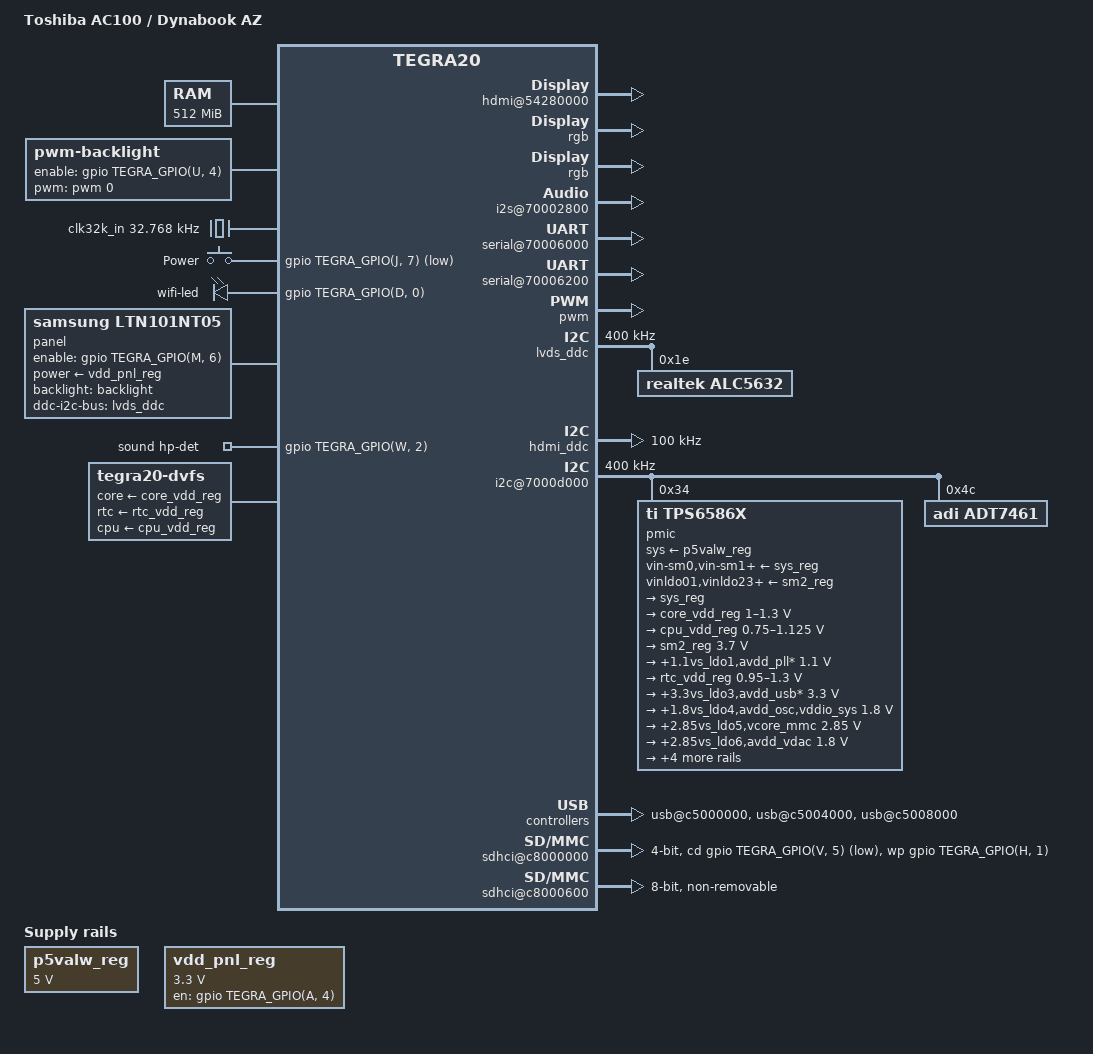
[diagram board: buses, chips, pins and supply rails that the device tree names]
/dts-v1/;

/*
 * Carveouts for multimedia and ram console
 * 128MB - multimedia
 * 8MB - fb1
 * 16MB - fb2
 * 1MB - ram-console
 */

/memreserve/ 0x11000000 0x9900000;

#include <dt-bindings/input/input.h>
#include "tegra20.dtsi"

/ {
	model = "Toshiba AC100 / Dynabook AZ";
	compatible = "compal,paz00", "nvidia,tegra20";

	aliases {
		rtc0 = "/i2c@7000d000/tps6586x@34";
		rtc1 = "/rtc@7000e000";
		serial0 = &uarta;
		serial1 = &uartc;
	};

	memory {
		reg = <0x00000000 0x20000000>;
	};

	ram-console {
		compatible = "android,ram-console";
		reg = <0x1A800000 0x00100000>;
	};

	nvmap {
		compatible = "nvidia,tegra-nvmap";
		#address-cells = <1>;
		#size-cells = <1>;
		ranges;

		carveouts {
			#address-cells = <1>;
			#size-cells = <1>;
			ranges;

			iram {
				reg = <0x40000400 0x3FC00>;
				reg-names = "iram";
				buddy-size = <0>;
				usage-mask = <0x20000000>;
			};

			generic {
				reg = <0x11000000 0x8000000>;
				reg-names = "generic-0";
				buddy-size = <0x8000>;
				usage-mask = <0x1>;
			};
		};

	};

	host1x@50000000 {
		compatible = "nvidia,tegra20-host1x", "nvhost-bus";
		ranges;

		hdmi@54280000 {
			status = "okay";

			vdd-supply = <&hdmi_vdd_reg>;
			pll-supply = <&hdmi_pll_reg>;

			nvidia,ddc-i2c-bus = <&hdmi_ddc>;
			nvidia,hpd-gpio = <&gpio TEGRA_GPIO(N, 7)
				GPIO_ACTIVE_HIGH>;
		};

		mpe@54040000 {
			clock-names = "mpe";
		};

		gr3d@54180000 {
			clock-names = "gr3d";
		};

		gr2d@54140000 {
			clocks = <&tegra_car TEGRA20_CLK_GR2D>,
				 <&tegra_car TEGRA20_CLK_EPP>;
			clock-names = "gr2d", "epp";
		};

		epp@540c0000 {
			clock-names = "epp";
		};

		dc@54200000 {
			reg = <0x54200000 0x00040000>,
			      <0x19000000 0x800000>;
			reg-names = "regs", "fbmem";
			interrupt-names = "irq";

			pnl-vdd-supply = <&vdd_pnl_reg>;

			rgb {
				status = "okay";

				display {
					fb-win = <0>;
					fb-xres = <1024>;
					fb-yres = <600>;
					fb-bpp = <32>;

					dc-index = <0>;

					flags = <1>; /* TEGRA_DC_FLAG_ENABLED */

					type = <0>; /* TEGRA_DC_OUT_RGB */
					order = <0>; /* TEGRA_DC_ORDER_RED_BLUE */
					align = <0>; /* TEGRA_DC_ALIGN_MSB */
					depth = <18>;
					dither = <3>; /* TEGRA_DC_ERRDIFF_DITHER */

					default-emc-rate = <600000000>;
					min-emc-rate = <300000000>;

					display-timings {
						native-mode = <&timing0>;
						timing0: 1024x600 {
							clock-frequency = <54030000>;
							hactive = <1024>;
							vactive = <600>;
							hfront-porch = <24>;
							hback-porch = <160>;
							hsync-len = <136>;
							vsync-len = <6>;
							vfront-porch = <3>;
							vback-porch = <61>;
						};
					};
				};
			};
		};

		dc@54240000 {
			reg = <0x54240000 0x00040000>,
			      <0x54280000 0x00040000>,
			      <0x19800000 0x01000000>;
			reg-names = "regs", "hdmi_regs", "fbmem";
			clocks = <&tegra_car TEGRA20_CLK_DISP2>,
				 <&tegra_car TEGRA20_CLK_HDMI>,
				 <&tegra_car TEGRA20_CLK_PLL_D_OUT0>;
			clock-names = "dc", "hdmi", "parent";
			resets = <&tegra_car TEGRA20_CLK_DISP2>,
				 <&tegra_car TEGRA20_CLK_HDMI>;
			reset-names = "dc", "hdmi";
			interrupt-names = "irq";

			hdmi-vdd-supply = <&hdmi_vdd_reg>;
			hdmi-pll-supply = <&hdmi_pll_reg>;

			rgb {
				status = "okay";

				display {
					fb-win = <0>;
					fb-xres = <1280>;
					fb-yres = <800>;
					fb-bpp = <32>;

					dc-index = <1>;

					type = <1>; /* TEGRA_DC_OUT_HDMI */
					order = <0>; /* TEGRA_DC_ORDER_RED_BLUE */
					align = <0>; /* TEGRA_DC_ALIGN_MSB */
					dc-flags = <0>; /* TEGRA_DC_OUT_HOTPLUG_HIGH */
					max-clock = <148500>;
				};
			};
		};
	};

	tegra-avp {
		compatible = "nvidia,tegra20-avp";
		interrupts = <GIC_SPI 4 IRQ_TYPE_LEVEL_HIGH>;
		interrupt-names = "mbox_from_avp_pending";
		clocks = <&tegra_car TEGRA20_CLK_COP>,
			 <&tegra_car TEGRA20_CLK_VCP>,
			 <&tegra_car TEGRA20_CLK_BSEA>,
			 <&tegra_car TEGRA20_CLK_VDE>;
		clock-names = "cop", "vcp", "bsea", "vde";
		resets = <&tegra_car TEGRA20_CLK_COP>,
			 <&tegra_car TEGRA20_CLK_VCP>,
			 <&tegra_car TEGRA20_CLK_BSEA>,
			 <&tegra_car TEGRA20_CLK_VDE>;
		reset-names = "cop", "vcp", "bsea", "vde";
	};

	pinmux@70000014 {
		pinctrl-names = "default";
		pinctrl-0 = <&state_default>;

		state_default: pinmux {
			ata {
				nvidia,pins = "ata", "atc", "atd", "ate",
					"dap2", "gmb", "gmc", "gmd", "spia",
					"spib", "spic", "spid", "spie";
				nvidia,function = "gmi";
			};
			atb {
				nvidia,pins = "atb", "gma", "gme";
				nvidia,function = "sdio4";
			};
			cdev1 {
				nvidia,pins = "cdev1";
				nvidia,function = "plla_out";
			};
			cdev2 {
				nvidia,pins = "cdev2";
				nvidia,function = "pllp_out4";
			};
			crtp {
				nvidia,pins = "crtp";
				nvidia,function = "crt";
			};
			csus {
				nvidia,pins = "csus";
				nvidia,function = "pllc_out1";
			};
			dap1 {
				nvidia,pins = "dap1";
				nvidia,function = "dap1";
			};
			dap3 {
				nvidia,pins = "dap3";
				nvidia,function = "dap3";
			};
			dap4 {
				nvidia,pins = "dap4";
				nvidia,function = "dap4";
			};
			ddc {
				nvidia,pins = "ddc";
				nvidia,function = "i2c2";
			};
			dta {
				nvidia,pins = "dta", "dtb", "dtc", "dtd", "dte";
				nvidia,function = "rsvd1";
			};
			dtf {
				nvidia,pins = "dtf";
				nvidia,function = "i2c3";
			};
			gpu {
				nvidia,pins = "gpu", "sdb", "sdd";
				nvidia,function = "pwm";
			};
			gpu7 {
				nvidia,pins = "gpu7";
				nvidia,function = "rtck";
			};
			gpv {
				nvidia,pins = "gpv", "slxa", "slxk";
				nvidia,function = "pcie";
			};
			hdint {
				nvidia,pins = "hdint", "pta";
				nvidia,function = "hdmi";
			};
			i2cp {
				nvidia,pins = "i2cp";
				nvidia,function = "i2cp";
			};
			irrx {
				nvidia,pins = "irrx", "irtx";
				nvidia,function = "uarta";
			};
			kbca {
				nvidia,pins = "kbca", "kbcc", "kbce", "kbcf";
				nvidia,function = "kbc";
			};
			kbcb {
				nvidia,pins = "kbcb", "kbcd";
				nvidia,function = "sdio2";
			};
			lcsn {
				nvidia,pins = "lcsn", "ld0", "ld1", "ld2",
					"ld3", "ld4", "ld5", "ld6", "ld7",
					"ld8", "ld9", "ld10", "ld11", "ld12",
					"ld13", "ld14", "ld15", "ld16", "ld17",
					"ldc", "ldi", "lhp0", "lhp1", "lhp2",
					"lhs", "lm0", "lm1", "lpp", "lpw0",
					"lpw1", "lpw2", "lsc0", "lsc1", "lsck",
					"lsda", "lsdi", "lspi", "lvp0", "lvp1",
					"lvs";
				nvidia,function = "displaya";
			};
			owc {
				nvidia,pins = "owc";
				nvidia,function = "owr";
			};
			pmc {
				nvidia,pins = "pmc";
				nvidia,function = "pwr_on";
			};
			rm {
				nvidia,pins = "rm";
				nvidia,function = "i2c1";
			};
			sdc {
				nvidia,pins = "sdc";
				nvidia,function = "twc";
			};
			sdio1 {
				nvidia,pins = "sdio1";
				nvidia,function = "sdio1";
			};
			slxc {
				nvidia,pins = "slxc", "slxd";
				nvidia,function = "spi4";
			};
			spdi {
				nvidia,pins = "spdi", "spdo";
				nvidia,function = "rsvd2";
			};
			spif {
				nvidia,pins = "spif", "uac";
				nvidia,function = "rsvd4";
			};
			spig {
				nvidia,pins = "spig", "spih";
				nvidia,function = "spi2_alt";
			};
			uaa {
				nvidia,pins = "uaa", "uab", "uda";
				nvidia,function = "ulpi";
			};
			uad {
				nvidia,pins = "uad";
				nvidia,function = "spdif";
			};
			uca {
				nvidia,pins = "uca", "ucb";
				nvidia,function = "uartc";
			};
			conf_ata {
				nvidia,pins = "ata", "atb", "atc", "atd", "ate",
					"cdev1", "cdev2", "dap1", "dap2", "dtf",
					"gma", "gmb", "gmc", "gmd", "gme",
					"gpu", "gpu7", "gpv", "i2cp", "pta",
					"rm", "sdio1", "slxk", "spdo", "uac",
					"uda";
				nvidia,pull = <TEGRA_PIN_PULL_NONE>;
				nvidia,tristate = <TEGRA_PIN_DISABLE>;
			};
			conf_ck32 {
				nvidia,pins = "ck32", "ddrc", "pmca", "pmcb",
					"pmcc", "pmcd", "pmce", "xm2c", "xm2d";
				nvidia,pull = <TEGRA_PIN_PULL_NONE>;
			};
			conf_crtp {
				nvidia,pins = "crtp", "dap3", "dap4", "dtb",
					"dtc", "dte", "slxa", "slxc", "slxd",
					"spdi";
				nvidia,pull = <TEGRA_PIN_PULL_NONE>;
				nvidia,tristate = <TEGRA_PIN_ENABLE>;
			};
			conf_csus {
				nvidia,pins = "csus", "spia", "spib", "spid",
					"spif";
				nvidia,pull = <TEGRA_PIN_PULL_DOWN>;
				nvidia,tristate = <TEGRA_PIN_ENABLE>;
			};
			conf_ddc {
				nvidia,pins = "ddc", "irrx", "irtx", "kbca",
					"kbcb", "kbcc", "kbcd", "kbce", "kbcf",
					"spic", "spig", "uaa", "uab";
				nvidia,pull = <TEGRA_PIN_PULL_UP>;
				nvidia,tristate = <TEGRA_PIN_DISABLE>;
			};
			conf_dta {
				nvidia,pins = "dta", "dtd", "owc", "sdc", "sdd",
					"spie", "spih", "uad", "uca", "ucb";
				nvidia,pull = <TEGRA_PIN_PULL_UP>;
				nvidia,tristate = <TEGRA_PIN_ENABLE>;
			};
			conf_hdint {
				nvidia,pins = "hdint", "ld0", "ld1", "ld2",
					"ld3", "ld4", "ld5", "ld6", "ld7",
					"ld8", "ld9", "ld10", "ld11", "ld12",
					"ld13", "ld14", "ld15", "ld16", "ld17",
					"ldc", "ldi", "lhs", "lsc0", "lspi",
					"lvs", "pmc";
				nvidia,tristate = <TEGRA_PIN_DISABLE>;
			};
			conf_lc {
				nvidia,pins = "lc", "ls";
				nvidia,pull = <TEGRA_PIN_PULL_UP>;
			};
			conf_lcsn {
				nvidia,pins = "lcsn", "lhp0", "lhp1", "lhp2",
					"lm0", "lm1", "lpp", "lpw0", "lpw1",
					"lpw2", "lsc1", "lsck", "lsda", "lsdi",
					"lvp0", "lvp1", "sdb";
				nvidia,tristate = <TEGRA_PIN_ENABLE>;
			};
			conf_ld17_0 {
				nvidia,pins = "ld17_0", "ld19_18", "ld21_20",
					"ld23_22";
				nvidia,pull = <TEGRA_PIN_PULL_DOWN>;
			};
		};
	};

	i2s@70002800 {
		status = "okay";
	};

	serial@70006000 {
		status = "okay";
	};

	serial@70006200 {
		status = "okay";
	};

	pwm: pwm@7000a000 {
		status = "okay";
	};

	lvds_ddc: i2c@7000c000 {
		status = "okay";
		clock-frequency = <400000>;

		alc5632: alc5632@1e {
			compatible = "realtek,alc5632";
			reg = <0x1e>;
			gpio-controller;
			#gpio-cells = <2>;
		};
	};

	hdmi_ddc: i2c@7000c400 {
		status = "okay";
		clock-frequency = <100000>;
	};

	nvec@7000c500 {
		compatible = "nvidia,nvec";
		reg = <0x7000c500 0x100>;
		interrupts = <GIC_SPI 92 IRQ_TYPE_LEVEL_HIGH>;
		#address-cells = <1>;
		#size-cells = <0>;
		clock-frequency = <80000>;
		request-gpios = <&gpio TEGRA_GPIO(V, 2) GPIO_ACTIVE_HIGH>;
		slave-addr = <138>;
		clocks = <&tegra_car TEGRA20_CLK_I2C3>,
		         <&tegra_car TEGRA20_CLK_PLL_P_OUT3>;
		clock-names = "div-clk", "fast-clk";
		resets = <&tegra_car 67>;
		reset-names = "i2c";
	};

	i2c@7000d000 {
		status = "okay";
		clock-frequency = <400000>;

		pmic: tps6586x@34 {
			compatible = "ti,tps6586x";
			reg = <0x34>;
			interrupts = <GIC_SPI 86 IRQ_TYPE_LEVEL_HIGH>;

			#gpio-cells = <2>;
			gpio-controller;

			sys-supply = <&p5valw_reg>;
			vin-sm0-supply = <&sys_reg>;
			vin-sm1-supply = <&sys_reg>;
			vin-sm2-supply = <&sys_reg>;
			vinldo01-supply = <&sm2_reg>;
			vinldo23-supply = <&sm2_reg>;
			vinldo4-supply = <&sm2_reg>;
			vinldo678-supply = <&sm2_reg>;
			vinldo9-supply = <&sm2_reg>;

			regulators {
				sys_reg: sys {
					regulator-name = "vdd_sys";
					regulator-always-on;
				};

				core_vdd_reg: sm0 {
					regulator-name = "+1.2vs_sm0,vdd_core";
					regulator-min-microvolt = <1000000>;
					regulator-max-microvolt = <1300000>;
					regulator-always-on;
				};

				cpu_vdd_reg: sm1 {
					regulator-name = "+1.0vs_sm1,vdd_cpu";
					regulator-min-microvolt = <750000>;
					regulator-max-microvolt = <1125000>;
					regulator-always-on;
				};

				sm2_reg: sm2 {
					regulator-name = "+3.7vs_sm2,vin_ldo*";
					regulator-min-microvolt = <3700000>;
					regulator-max-microvolt = <3700000>;
					regulator-always-on;
				};

				/* LDO0 is not connected to anything */

				ldo1 {
					regulator-name = "+1.1vs_ldo1,avdd_pll*";
					regulator-min-microvolt = <1100000>;
					regulator-max-microvolt = <1100000>;
					regulator-always-on;
				};

				rtc_vdd_reg: ldo2 {
					regulator-name = "+1.2vs_ldo2,vdd_rtc";
					regulator-min-microvolt = <950000>;
					regulator-max-microvolt = <1300000>;
				};

				ldo3 {
					regulator-name = "+3.3vs_ldo3,avdd_usb*";
					regulator-min-microvolt = <3300000>;
					regulator-max-microvolt = <3300000>;
					regulator-always-on;
				};

				ldo4 {
					regulator-name = "+1.8vs_ldo4,avdd_osc,vddio_sys";
					regulator-min-microvolt = <1800000>;
					regulator-max-microvolt = <1800000>;
					regulator-always-on;
				};

				ldo5 {
					regulator-name = "+2.85vs_ldo5,vcore_mmc";
					regulator-min-microvolt = <2850000>;
					regulator-max-microvolt = <2850000>;
					regulator-always-on;
				};

				ldo6 {
					/*
					 * Research indicates this should be
					 * 1.8v; other boards that use this
					 * rail for the same purpose need it
					 * set to 1.8v. The schematic signal
					 * name is incorrect; perhaps copied
					 * from an incorrect NVIDIA reference.
					 */
					regulator-name = "+2.85vs_ldo6,avdd_vdac";
					regulator-min-microvolt = <1800000>;
					regulator-max-microvolt = <1800000>;
				};

				hdmi_vdd_reg: ldo7 {
					regulator-name = "+3.3vs_ldo7,avdd_hdmi";
					regulator-min-microvolt = <3300000>;
					regulator-max-microvolt = <3300000>;
				};

				hdmi_pll_reg: ldo8 {
					regulator-name = "+1.8vs_ldo8,avdd_hdmi_pll";
					regulator-min-microvolt = <1800000>;
					regulator-max-microvolt = <1800000>;
				};

				ldo9 {
					regulator-name = "+2.85vs_ldo9,vdd_ddr_rx";
					regulator-min-microvolt = <2850000>;
					regulator-max-microvolt = <2850000>;
					regulator-always-on;
				};

				ldo_rtc {
					regulator-name = "+3.3vs_rtc";
					regulator-min-microvolt = <3300000>;
					regulator-max-microvolt = <3300000>;
					regulator-always-on;
				};
			};
		};

		adt7461@4c {
			compatible = "adi,adt7461";
			reg = <0x4c>;
		};
	};

	pmc@7000e400 {
		nvidia,invert-interrupt;
		nvidia,suspend-mode = <1>;
		nvidia,cpu-pwr-good-time = <2000>;
		nvidia,cpu-pwr-off-time = <0>;
		nvidia,core-pwr-good-time = <3845 3845>;
		nvidia,core-pwr-off-time = <0>;
		nvidia,sys-clock-req-active-high;
	};

	usb@c5000000 {
		compatible = "nvidia,tegra20-udc";
		status = "okay";
	};

	usb-phy@c5000000 {
		status = "okay";
		dr_mode = "peripheral";
		nvidia,xcvr-setup = <8>;
		nvidia,xcvr-setup-use-fuses;
		nvidia,xcvr-lsfslew = <2>;
		nvidia,xcvr-lsrslew = <2>;
	};

	usb@c5004000 {
		status = "okay";
		nvidia,phy-reset-gpio = <&gpio TEGRA_GPIO(V, 0)
			GPIO_ACTIVE_LOW>;
	};

	usb-phy@c5004000 {
		status = "okay";
		nvidia,phy-reset-gpio = <&gpio TEGRA_GPIO(V, 0)
			GPIO_ACTIVE_LOW>;
	};

	usb@c5008000 {
		status = "okay";
	};

	usb-phy@c5008000 {
		status = "okay";
	};

	sdhci@c8000000 {
		status = "okay";
		cd-gpios = <&gpio TEGRA_GPIO(V, 5) GPIO_ACTIVE_LOW>;
		wp-gpios = <&gpio TEGRA_GPIO(H, 1) GPIO_ACTIVE_HIGH>;
		power-gpios = <&gpio TEGRA_GPIO(V, 1) GPIO_ACTIVE_HIGH>;
		bus-width = <4>;
	};

	sdhci@c8000600 {
		status = "okay";
		bus-width = <8>;
		non-removable;
	};

	backlight: backlight {
		compatible = "pwm-backlight";

		enable-gpios = <&gpio TEGRA_GPIO(U, 4) GPIO_ACTIVE_HIGH>;
		pwms = <&pwm 0 5000000>;

		brightness-levels = <0 1 2 3 4 5 6 7 8 9 10 11 12 13 14 15 16 17
				18 19 20 21 22 23 24 25 26 27 28 29 30 31 32 33
				34 35 36 37 38 39 40 41 42 43 44 45 46 47 48 49
				50 51 52 53 54 55 56 57 58 59 60 61 62 63 64 65
				66 67 68 69 70 71 72 73 74 75 76 77 78 79 80 81
				82 83 84 85 86 87 88 89 90 91 92 93 94 95 96 97
				98 99 100 101 102 103 104 105 106 107 108 109
				110 111 112 113 114 115 116 117 118 119 120 121
				122 123 124 125 126 127 128 129 130 131 132 133
				134 135 136 137 138 139 140 141 142 143 144 145
				146 147 148 149 150 151 152 153 154 155 156 157
				158 159 160 161 162 163 164 165 166 167 168 169
				170 171 172 173 174 175 176 177 178 179 180 181
				182 183 184 185 186 187 188 189 190 191 192 193
				194 195 196 197 198 199 200 201 202 203 204 205
				206 207 208 209 210 211 212 213 214 215 216 217
				218 219 220 221 222 223 224 225 226 227 228 229
				230 231 232 233 234 235 236 237 238 239 240 241
				242 243 244 245 246 247 248 249 250 251 252 253
				254 255>;
		default-brightness-level = <40>;

		backlight-boot-off;
	};

	clocks {
		compatible = "simple-bus";
		#address-cells = <1>;
		#size-cells = <0>;

		clk32k_in: clock@0 {
			compatible = "fixed-clock";
			reg=<0>;
			#clock-cells = <0>;
			clock-frequency = <32768>;
		};
	};

	gpio-keys {
		compatible = "gpio-keys";

		power {
			label = "Power";
			gpios = <&gpio TEGRA_GPIO(J, 7) GPIO_ACTIVE_LOW>;
			linux,code = <KEY_POWER>;
			gpio-key,wakeup;
		};
	};

	gpio-leds {
		compatible = "gpio-leds";

		wifi {
			label = "wifi-led";
			gpios = <&gpio TEGRA_GPIO(D, 0) GPIO_ACTIVE_HIGH>;
			linux,default-trigger = "rfkill0";
		};
	};

	panel: panel {
		compatible = "samsung,ltn101nt05", "simple-panel";

		ddc-i2c-bus = <&lvds_ddc>;
		power-supply = <&vdd_pnl_reg>;
		enable-gpios = <&gpio TEGRA_GPIO(M, 6) GPIO_ACTIVE_HIGH>;

		backlight = <&backlight>;
	};

	regulators {
		compatible = "simple-bus";
		#address-cells = <1>;
		#size-cells = <0>;

		p5valw_reg: regulator@0 {
			compatible = "regulator-fixed";
			reg = <0>;
			regulator-name = "+5valw";
			regulator-min-microvolt = <5000000>;
			regulator-max-microvolt = <5000000>;
			regulator-always-on;
		};

		vdd_pnl_reg: regulator@1 {
			compatible = "regulator-fixed";
			reg = <1>;
			regulator-name = "+3VS,vdd_pnl";
			regulator-min-microvolt = <3300000>;
			regulator-max-microvolt = <3300000>;
			gpio = <&gpio TEGRA_GPIO(A, 4) GPIO_ACTIVE_HIGH>;
			enable-active-high;
		};
	};

	sound {
		compatible = "nvidia,tegra-audio-alc5632-paz00",
			"nvidia,tegra-audio-alc5632";

		nvidia,model = "Compal PAZ00";

		nvidia,audio-routing =
			"Int Spk", "SPKOUT",
			"Int Spk", "SPKOUTN",
			"Headset Mic", "MICBIAS1",
			"MIC1", "Headset Mic",
			"Headset Stereophone", "HPR",
			"Headset Stereophone", "HPL",
			"DMICDAT", "Digital Mic";

		nvidia,audio-codec = <&alc5632>;
		nvidia,i2s-controller = <&tegra_i2s1>;
		nvidia,hp-det-gpios = <&gpio TEGRA_GPIO(W, 2)
			GPIO_ACTIVE_HIGH>;

		clocks = <&tegra_car TEGRA20_CLK_PLL_A>,
		         <&tegra_car TEGRA20_CLK_PLL_A_OUT0>,
		         <&tegra_car TEGRA20_CLK_CDEV1>;
		clock-names = "pll_a", "pll_a_out0", "mclk";
	};

	dvfs {
		compatible = "tegra20-dvfs";
		core-supply = <&core_vdd_reg>;
		rtc-supply = <&rtc_vdd_reg>;
		cpu-supply = <&cpu_vdd_reg>;

		clocks = <&tegra_car TEGRA20_CLK_DISP1>,
			 <&tegra_car TEGRA20_CLK_DISP2>,
			 <&tegra_car TEGRA20_CLK_HDMI>,
			 <&tegra_car TEGRA20_CLK_EPP>,
			 <&tegra_car TEGRA20_CLK_GR2D>,
			 <&tegra_car TEGRA20_CLK_GR3D>,
			 <&tegra_car TEGRA20_CLK_MPE>,
			 <&tegra_car TEGRA20_CLK_HOST1X>,
			 <&tegra_car TEGRA20_CLK_VI>,
			 <&tegra_car TEGRA20_CLK_CSI>,
			 <&tegra_car TEGRA20_CLK_VDE>,
			 <&tegra_car TEGRA20_CLK_MIPI>,
			 <&tegra_car TEGRA20_CLK_USBD>,
			 <&tegra_car TEGRA20_CLK_USB2>,
			 <&tegra_car TEGRA20_CLK_USB3>,
			 <&tegra_car TEGRA20_CLK_EMC>;
		clock-names = "disp1", "disp2", "hdmi", "epp", "2d", "3d",
				"mpe", "host1x", "vi", "csi", "vde", "mipi",
				"usbd", "usb2", "usb3", "emc";
	};

	memory-controller@7000f400 {
		nvidia,use-ram-code;

		hynix-333mhz {
			nvidia,ram-code = <0x0>;
			#address-cells = <1>;
			#size-cells = <0>;

			emc-table@166500 {
				reg = <166500>;
				compatible = "nvidia,tegra20-emc-table";
				clock-frequency = <166500>;
				nvidia,emc-registers = <0x0000000a 0x00000016
					0x00000008 0x00000003 0x00000004 0x00000004
					0x00000002 0x0000000c 0x00000003 0x00000003
					0x00000002 0x00000001 0x00000004 0x00000005
					0x00000004 0x00000009 0x0000000d 0x000004df
					0x00000000 0x00000003 0x00000003 0x00000003
					0x00000003 0x00000001 0x0000000a 0x000000c8
					0x00000003 0x00000006 0x00000004 0x00000008
					0x00000002 0x00000000 0x00000000 0x00000002
					0x00000000 0x00000000 0x00000083 0xe03b0323
					0x007fe010 0x00001414 0x00000000 0x00000000
					0x00000000 0x00000000 0x00000000 0x00000000>;
			};

			emc-table@333000 {
				reg = <333000>;
				compatible = "nvidia,tegra20-emc-table";
				clock-frequency = <333000>;
				nvidia,emc-registers = <0x00000018 0x00000033
					0x00000012 0x00000004 0x00000004 0x00000005
					0x00000003 0x0000000c 0x00000006 0x00000006
					0x00000003 0x00000001 0x00000004 0x00000005
					0x00000004 0x00000009 0x0000000d 0x00000bff
					0x00000000 0x00000003 0x00000003 0x00000006
					0x00000006 0x00000001 0x00000011 0x000000c8
					0x00000003 0x0000000e 0x00000007 0x00000008
					0x00000002 0x00000000 0x00000000 0x00000002
					0x00000000 0x00000000 0x00000083 0xf0440303
					0x007fe010 0x00001414 0x00000000 0x00000000
					0x00000000 0x00000000 0x00000000 0x00000000>;
			};
		};

		micron-333mhz {
			nvidia,ram-code = <0x1>;
			#address-cells = <1>;
			#size-cells = <0>;

			emc-table@166500 {
				reg = <166500>;
				compatible = "nvidia,tegra20-emc-table";
				clock-frequency = <166500>;
				nvidia,emc-registers = <0x0000000a 0x00000016
					0x00000008 0x00000003 0x00000004 0x00000004
					0x00000002 0x0000000c 0x00000003 0x00000003
					0x00000002 0x00000001 0x00000004 0x00000005
					0x00000004 0x00000009 0x0000000d 0x000004df
					0x00000000 0x00000003 0x00000003 0x00000003
					0x00000003 0x00000001 0x00000009 0x000000c8
					0x00000003 0x00000009 0x00000004 0x0000000c
					0x00000002 0x00000000 0x00000000 0x00000002
					0x00000000 0x00000000 0x00000083 0x00000006
					0x00000010 0x00000008 0x00000000 0x00000000
					0x00000000 0x00000000 0x00000000 0x00000000>;
			};

			emc-table@333000 {
				reg = <333000>;
				compatible = "nvidia,tegra20-emc-table";
				clock-frequency = <333000>;
				nvidia,emc-registers = <0x00000014 0x0000002b
					0x0000000f 0x00000005 0x00000004 0x00000005
					0x00000003 0x0000000c 0x00000005 0x00000005
					0x00000003 0x00000001 0x00000004 0x00000005
					0x00000004 0x00000009 0x0000000d 0x000009ff
					0x00000000 0x00000003 0x00000003 0x00000005
					0x00000005 0x00000001 0x0000000f 0x000000c8
					0x00000003 0x0000000c 0x00000006 0x00000008
					0x00000002 0x00000000 0x00000000 0x00000002
					0x00000000 0x00000000 0x00000083 0x00000016
					0x00000010 0x00000008 0x00000000 0x00000000
					0x00000000 0x00000000 0x00000000 0x00000000>;
			};
		};
	};
};
